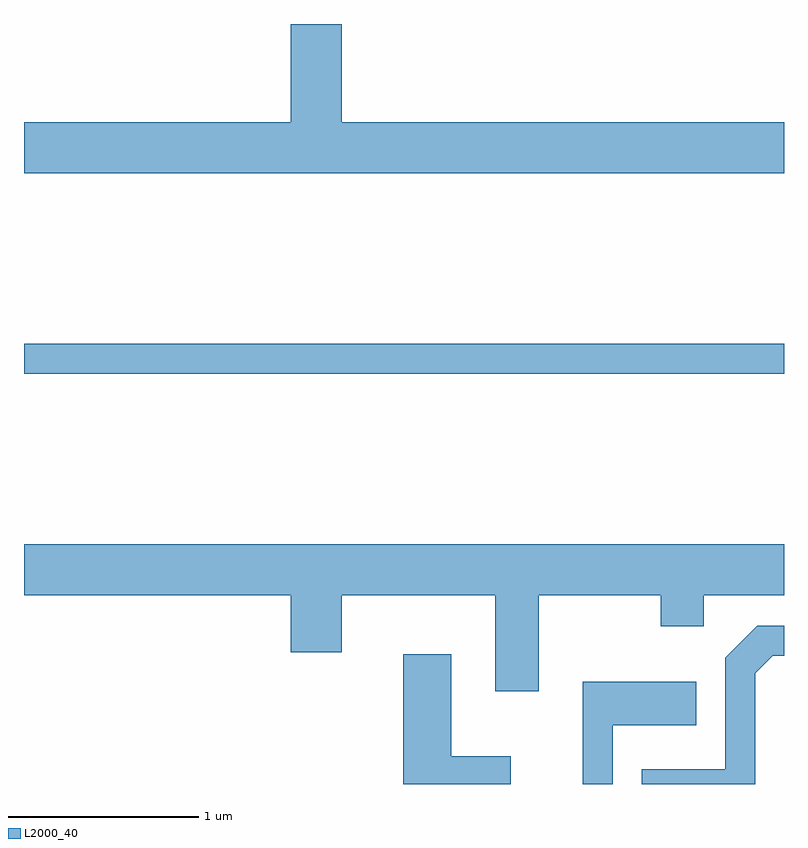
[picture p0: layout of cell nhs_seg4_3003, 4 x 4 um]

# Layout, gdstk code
import gdstk
lib = gdstk.Library(unit=1e-6, precision=1e-09)
def R(c, l, rs):  # rectangles x0, y0, x1, y1
    for r in rs: c.add(gdstk.rectangle(r[:2], r[2:], *l))
def P(c, l, *ps):  # polygons
    for p in ps: c.add(gdstk.Polygon(p, *l))
L2000_40 = (2000, 40)

nhs_seg4_3003 = lib.new_cell('nhs_seg4_3003')
R(nhs_seg4_3003, L2000_40, [(273.611,1278.141,277.611,1278.299)])
P(nhs_seg4_3003, L2000_40, [(277.611,1279.464),(275.284,1279.464),(275.284,1279.982),(275.016,1279.982),(275.016,1279.464),(273.611,1279.464),(273.611,1279.196),(277.611,1279.196)],
  [(276.319,1276.976),(276.961,1276.976),(276.961,1276.811),(277.189,1276.811),(277.189,1276.976),(277.611,1276.976),(277.611,1277.244),(273.611,1277.244),(273.611,1276.976),(275.016,1276.976),(275.016,1276.676),(275.284,1276.676),(275.284,1276.976),(276.091,1276.976),(276.091,1276.471),(276.319,1276.471)],
  [(277.459,1276.564),(277.552,1276.656),(277.611,1276.656),(277.611,1276.814),(277.469,1276.814),(277.301,1276.647),(277.301,1276.059),(276.861,1276.059),(276.861,1275.982),(277.459,1275.982)],
  [(276.174,1276.129),(275.859,1276.129),(275.859,1276.664),(275.606,1276.664),(275.606,1275.982),(276.174,1275.982)],
  [(276.709,1276.291),(277.149,1276.291),(277.149,1276.519),(276.551,1276.519),(276.551,1275.982),(276.709,1275.982)])

lib.write_gds('nhs_seg4_3003.gds')
